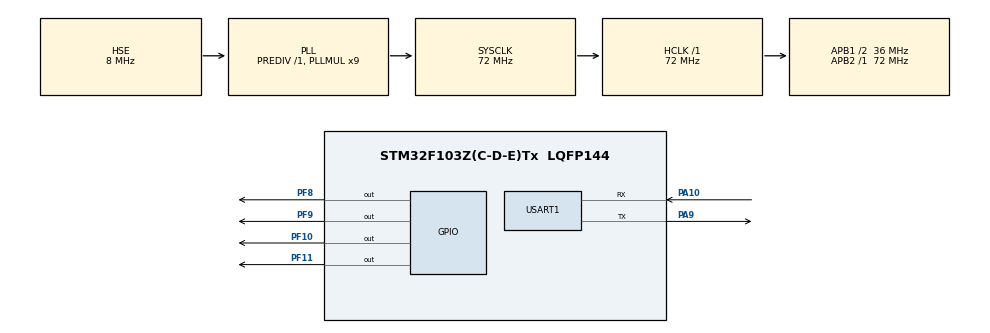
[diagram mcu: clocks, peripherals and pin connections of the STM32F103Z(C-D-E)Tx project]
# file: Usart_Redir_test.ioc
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Mcu.Family=STM32F1
Mcu.Name=STM32F103Z(C-D-E)Tx
Mcu.Package=LQFP144
NVIC.PriorityGroup=NVIC_PRIORITYGROUP_4
OSC_IN.Mode=HSE-External-Oscillator
OSC_IN.Signal=RCC_OSC_IN
OSC_OUT.Mode=HSE-External-Oscillator
OSC_OUT.Signal=RCC_OSC_OUT
PA10.Mode=Asynchronous
PA10.Signal=USART1_RX
PA13.Mode=Serial_Wire
PA13.Signal=SYS_JTMS-SWDIO
PA14.Mode=Serial_Wire
PA14.Signal=SYS_JTCK-SWCLK
PA9.Mode=Asynchronous
PA9.Signal=USART1_TX
PF10.PinState=GPIO_PIN_SET
PF10.Signal=GPIO_Output
PF11.PinState=GPIO_PIN_SET
PF11.Signal=GPIO_Output
PF8.PinState=GPIO_PIN_SET
PF8.Signal=GPIO_Output
PF9.PinState=GPIO_PIN_SET
PF9.Signal=GPIO_Output
ProjectManager.HeapSize=0x200
ProjectManager.StackSize=0x400
ProjectManager.TargetToolchain=MDK-ARM V5.32
RCC.AHBFreq_Value=72000000
RCC.APB1CLKDivider=RCC_HCLK_DIV2
RCC.APB1Freq_Value=36000000
RCC.APB1TimFreq_Value=72000000
RCC.APB2Freq_Value=72000000
RCC.APB2TimFreq_Value=72000000
RCC.HCLKFreq_Value=72000000
RCC.PLLMUL=RCC_PLL_MUL9
RCC.PLLSourceVirtual=RCC_PLLSOURCE_HSE
RCC.SYSCLKFreq_VALUE=72000000
RCC.SYSCLKSource=RCC_SYSCLKSOURCE_PLLCLK
RCC.USBFreq_Value=72000000
USART1.Parity=PARITY_ODD
USART1.VirtualMode=VM_ASYNC
USART1.WordLength=WORDLENGTH_9B
board=custom

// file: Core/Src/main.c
/* USER CODE BEGIN Header */
/**
 ******************************************************************************
 * @file           : main.c
 * @brief          : Main program body
 ******************************************************************************
 * @attention
 *
 * Copyright (c) 2026 STMicroelectronics.
 * All rights reserved.
 *
 * This software is licensed under terms that can be found in the LICENSE file
 * in the root directory of this software component.
 * If no LICENSE file comes with this software, it is provided AS-IS.
 *
 ******************************************************************************
 */
/* USER CODE END Header */
#include "main.h"

/* USER CODE BEGIN Includes */

#include <string.h>
#include "BSP_Usart_Redir.h"
#include "BSP_LED.h"

/* USER CODE END Includes */

/* USER CODE BEGIN PM */
#define SIZE 32
/* USER CODE END PM */

UART_HandleTypeDef huart1;

/* USER CODE BEGIN PV */
char who[SIZE]; // 全局缓冲器，保存要点亮的灯
/* USER CODE END PV */

void SystemClock_Config(void);
static void MX_GPIO_Init(void);
static void MX_USART1_UART_Init(void);
/* USER CODE BEGIN PFP */
void Usart_Ctl_LED();
/* USER CODE END PFP */

int main(void)
{

  /* MCU Configuration--------------------------------------------------------*/

  /* Reset of all peripherals, Initializes the Flash interface and the Systick. */
  HAL_Init();

  /* Configure the system clock */
  SystemClock_Config();

  /* Initialize all configured peripherals */
  MX_GPIO_Init(); // usart 重定向
  MX_USART1_UART_Init();
  /* USER CODE BEGIN 2 */

  BSP_Usart_Init(&huart1);

  char inbuffer[32];
  printf("LED Blink begin ...\n");

  /* USER CODE END 2 */

  /* Infinite loop */
  /* USER CODE BEGIN WHILE */
  while (1)
  {
    // v4
    Usart_Ctl_LED();

    // v3
    // fgets(inbuffer, 31, stdin); // stdin 标准输入，不用它，占位符
    // int a = 0;
    // scanf("%d", &a);
    // printf("echo->%d\n", a);
    // // BSP_LED_On(LED1);

    // v2
    // fgets(inbuffer, 31, stdin); // stdin 标准输入，不用它，占位符
    // int a = 0;
    // scanf("%d", &a);
    // printf("echo->%d\n", a);

    // HAL_GPIO_TogglePin(GPIOF, GPIO_PIN_8);

    // v1
    // printf("hello : %d, hello %.3lf, hello: %s", 123, 3.14, "STM32Fl03");
    // HAL_GPIO_TogglePin(GPIOF, GPIO_PIN_8);
    // HAL_Delay(1000);
    /* USER CODE END WHILE */

  }
}

void SystemClock_Config(void)
{
  RCC_OscInitTypeDef RCC_OscInitStruct = {0};
  RCC_ClkInitTypeDef RCC_ClkInitStruct = {0};

  /** Initializes the RCC Oscillators according to the specified parameters
   * in the RCC_OscInitTypeDef structure.
   */
  RCC_OscInitStruct.OscillatorType = RCC_OSCILLATORTYPE_HSE;
  RCC_OscInitStruct.HSEState = RCC_HSE_ON;
  RCC_OscInitStruct.HSEPredivValue = RCC_HSE_PREDIV_DIV1;
  RCC_OscInitStruct.HSIState = RCC_HSI_ON;
  RCC_OscInitStruct.PLL.PLLState = RCC_PLL_ON;
  RCC_OscInitStruct.PLL.PLLSource = RCC_PLLSOURCE_HSE;
  RCC_OscInitStruct.PLL.PLLMUL = RCC_PLL_MUL9;
  if (HAL_RCC_OscConfig(&RCC_OscInitStruct) != HAL_OK)
  {
    Error_Handler();
  }

  /** Initializes the CPU, AHB and APB buses clocks
   */
  RCC_ClkInitStruct.ClockType = RCC_CLOCKTYPE_HCLK | RCC_CLOCKTYPE_SYSCLK | RCC_CLOCKTYPE_PCLK1 | RCC_CLOCKTYPE_PCLK2;
  RCC_ClkInitStruct.SYSCLKSource = RCC_SYSCLKSOURCE_PLLCLK;
  RCC_ClkInitStruct.AHBCLKDivider = RCC_SYSCLK_DIV1;
  RCC_ClkInitStruct.APB1CLKDivider = RCC_HCLK_DIV2;
  RCC_ClkInitStruct.APB2CLKDivider = RCC_HCLK_DIV1;

  if (HAL_RCC_ClockConfig(&RCC_ClkInitStruct, FLASH_LATENCY_2) != HAL_OK)
  {
    Error_Handler();
  }
}

static void MX_USART1_UART_Init(void)
{

  huart1.Instance = USART1;
  huart1.Init.BaudRate = 115200;
  huart1.Init.WordLength = UART_WORDLENGTH_9B;
  huart1.Init.StopBits = UART_STOPBITS_1;
  huart1.Init.Parity = UART_PARITY_ODD;
  huart1.Init.Mode = UART_MODE_TX_RX;
  huart1.Init.HwFlowCtl = UART_HWCONTROL_NONE;
  huart1.Init.OverSampling = UART_OVERSAMPLING_16;
  if (HAL_UART_Init(&huart1) != HAL_OK)
  {
    Error_Handler();
  }
}

static void MX_GPIO_Init(void)
{
  GPIO_InitTypeDef GPIO_InitStruct = {0};

  /* GPIO Ports Clock Enable */
  __HAL_RCC_GPIOF_CLK_ENABLE();
  __HAL_RCC_GPIOA_CLK_ENABLE();

  /*Configure GPIO pin Output Level */
  HAL_GPIO_WritePin(GPIOF, GPIO_PIN_8 | GPIO_PIN_9 | GPIO_PIN_10 | GPIO_PIN_11, GPIO_PIN_SET);

  /*Configure GPIO pins : PF8 PF9 PF10 PF11 */
  GPIO_InitStruct.Pin = GPIO_PIN_8 | GPIO_PIN_9 | GPIO_PIN_10 | GPIO_PIN_11;
  GPIO_InitStruct.Mode = GPIO_MODE_OUTPUT_PP;
  GPIO_InitStruct.Pull = GPIO_NOPULL;
  GPIO_InitStruct.Speed = GPIO_SPEED_FREQ_LOW;
  HAL_GPIO_Init(GPIOF, &GPIO_InitStruct);

}

/* USER CODE BEGIN 4 */

void Usart_Ctl_LED()
{
  fgets(who, SIZE - 1, stdin);
  if (strncasecmp("LED1", who, strlen("LED1")) == 0)
  {
    printf("LED1 闪烁 开始 ...\n");
    LED_Blink(LED1, 10, 500);
  }
  if (strncasecmp("LED2", who, strlen("LED2")) == 0)
  {
    printf("LED2 闪烁 开始 ...\n");
    LED_Blink(LED2, 10, 500);
  }
  if (strncasecmp("LED3", who, strlen("LED3")) == 0)
  {
    printf("LED3 闪烁 开始 ...\n");
    LED_Blink(LED3, 10, 500);
  }
  if (strncasecmp("LED4", who, strlen("LED4")) == 0)
  {
    printf("LED4 闪烁 开始 ...\n");
    LED_Blink(LED4, 10, 500);
  }
  if (strncasecmp("ALL", who, strlen("ALL")) == 0)
  {
    printf("LED1 | LED2 | LED3 | LED4 闪烁 开始 ...\n");
    LED_Blink(ALL, 10, 500);
  }
}

// int fputc(int ch, FILE *fp)
// {
//   UNUSED(fp);

//   if(HAL_UART_Transmit(&huart1, (uint8_t*)&ch, 1, HAL_MAX_DELAY) == HAL_OK)
//   {
//     return ch;
//   }
//   return EOF;
// }

// int fgetc(FILE *fp)
// {
//   UNUSED(fp);
//   uint8_t ch;
//   while(1)
//   {
//     if(HAL_UART_Receive(&huart1, &ch, 1, HAL_MAX_DELAY) != HAL_OK)
//     {
//       return EOF;
//     }
//     // 读取成功了一个字符
//     if(ch != '\r')
//     {
//       return (int)ch;
//     }
//   }
// }
/* USER CODE END 4 */

void Error_Handler(void)
{
  __disable_irq();
  while (1)
  {
  }
}
